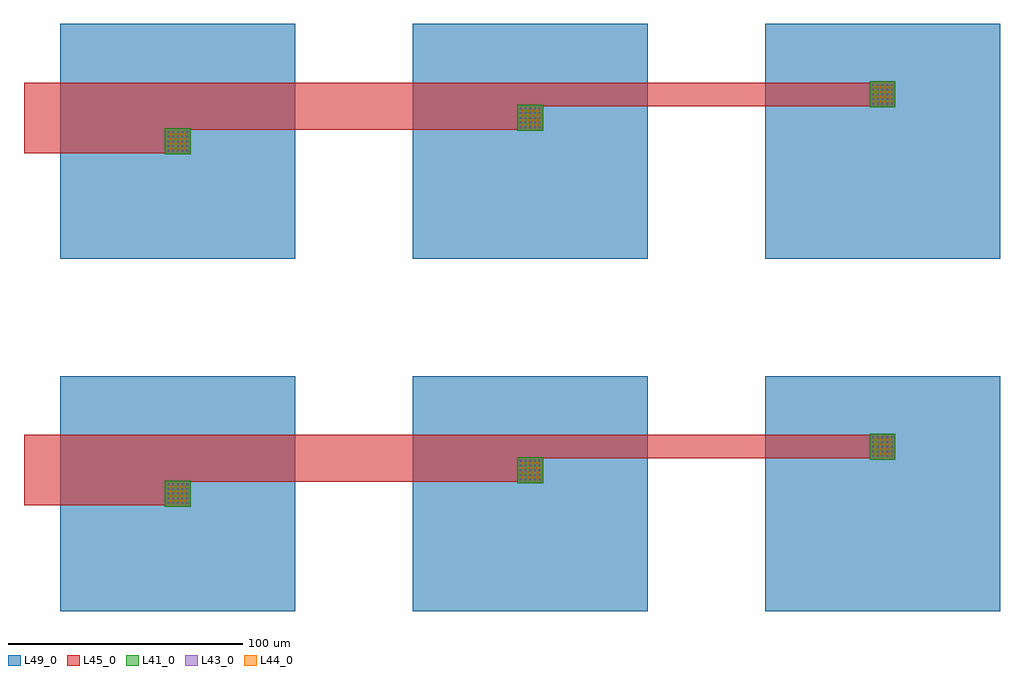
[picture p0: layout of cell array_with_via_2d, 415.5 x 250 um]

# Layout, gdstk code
import gdstk
lib = gdstk.Library(unit=1e-6, precision=1e-09)
def R(c, l, rs):  # rectangles x0, y0, x1, y1
    for r in rs: c.add(gdstk.rectangle(r[:2], r[2:], *l))
L41_0 = (41, 0)
L43_0 = (43, 0)
L44_0 = (44, 0)
L45_0 = (45, 0)
L49_0 = (49, 0)

pad = lib.new_cell('pad')
R(pad, L49_0, [(-50,-50,50,50)])

compass_layerm1_size11p0 = lib.new_cell('compass_layerM1_size11p0__11p0')
R(compass_layerm1_size11p0, L41_0, [(-5.5,-5.5,5.5,5.5)])

compass_layerm2_size11p0 = lib.new_cell('compass_layerM2_size11p0__11p0')
R(compass_layerm2_size11p0, L45_0, [(-5.5,-5.5,5.5,5.5)])

compass_layermtop_size11 = lib.new_cell('compass_layerMTOP_size11p0__11p0')
R(compass_layermtop_size11, L49_0, [(-5.5,-5.5,5.5,5.5)])

via_enclosure2_layervia1 = lib.new_cell('via_enclosure2_layerVIA1')
R(via_enclosure2_layervia1, L44_0, [(-0.35,-0.35,0.35,0.35)])

via_layervia2 = lib.new_cell('via_layerVIA2')
R(via_layervia2, L43_0, [(-0.35,-0.35,0.35,0.35)])

via_stack = lib.new_cell('via_stack')
via_stack.add(gdstk.Reference(compass_layerm1_size11p0, (0,0)))
via_stack.add(gdstk.Reference(compass_layerm2_size11p0, (0,0)))
via_stack.add(gdstk.Reference(compass_layermtop_size11, (0,0)))
r = gdstk.Reference(via_enclosure2_layervia1, (-3,-3)); r.repetition = gdstk.Repetition(4, 4, v1=(2,0), v2=(0,2)); via_stack.add(r)
r = gdstk.Reference(via_layervia2, (-4,-4)); r.repetition = gdstk.Repetition(5, 5, v1=(2,0), v2=(0,2)); via_stack.add(r)

straight_60171117 = lib.new_cell('straight_60171117')
R(straight_60171117, L45_0, [(0,-5,60,5)])

straight_efa0e522 = lib.new_cell('straight_efa0e522')
R(straight_efa0e522, L45_0, [(0,-5,210,5)])

straight_cb35aa90 = lib.new_cell('straight_cb35aa90')
R(straight_cb35aa90, L45_0, [(0,-5,360,5)])

array_with_via = lib.new_cell('array_with_via')
array_with_via.add(gdstk.Reference(pad, (0,0)))
array_with_via.add(gdstk.Reference(via_stack, (0,0)))
array_with_via.add(gdstk.Reference(straight_60171117, (-65.5,0)))
array_with_via.add(gdstk.Reference(pad, (150,0)))
array_with_via.add(gdstk.Reference(via_stack, (150,10)))
array_with_via.add(gdstk.Reference(straight_efa0e522, (-65.5,10)))
array_with_via.add(gdstk.Reference(pad, (300,0)))
array_with_via.add(gdstk.Reference(via_stack, (300,20)))
array_with_via.add(gdstk.Reference(straight_cb35aa90, (-65.5,20)))

array_with_via_2d = lib.new_cell('array_with_via_2d')
r = gdstk.Reference(array_with_via, (0,0)); r.repetition = gdstk.Repetition(1, 2, v1=(1,0), v2=(0,150)); array_with_via_2d.add(r)

lib.write_gds('array_with_via_2d.gds')
